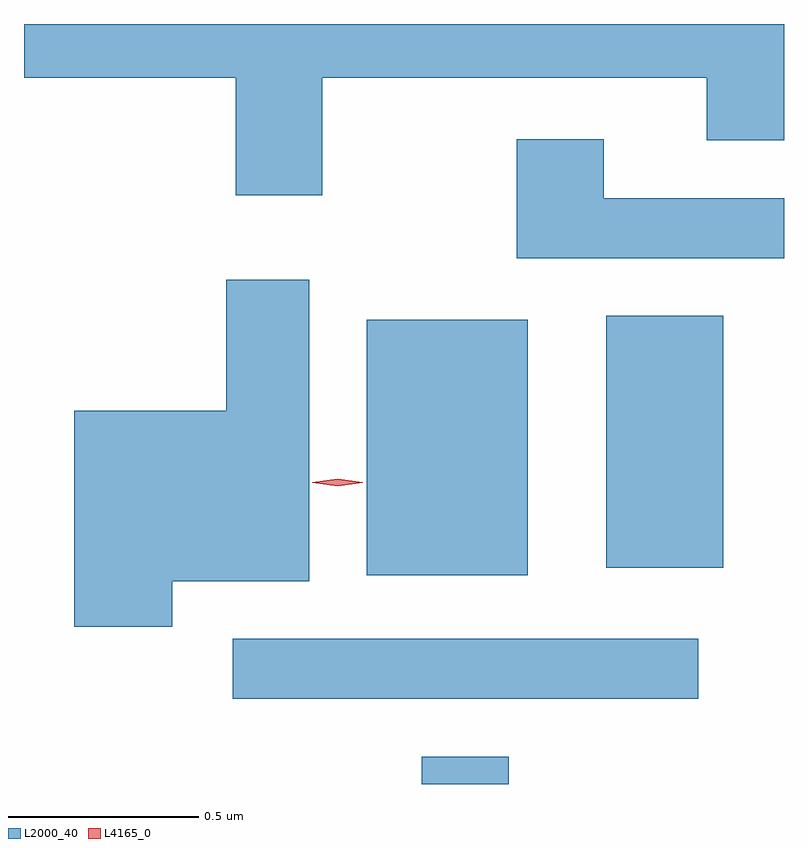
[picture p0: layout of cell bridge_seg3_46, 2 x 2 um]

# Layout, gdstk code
import gdstk
lib = gdstk.Library(unit=1e-6, precision=1e-09)
def R(c, l, rs):  # rectangles x0, y0, x1, y1
    for r in rs: c.add(gdstk.rectangle(r[:2], r[2:], *l))
def P(c, l, *ps):  # polygons
    for p in ps: c.add(gdstk.Polygon(p, *l))
L2000_40 = (2000, 40)
L4165_0 = (4165, 0)

bridge_seg3_46 = lib.new_cell('bridge_seg3_46')
R(bridge_seg3_46, L2000_40, [(1164.121,1157.457,1164.349,1157.529), (1163.623,1157.681,1164.848,1157.839), (1163.976,1158.006,1164.399,1158.679), (1164.606,1158.026,1164.914,1158.689)])
P(bridge_seg3_46, L2000_40, [(1163.859,1159.316),(1164.871,1159.316),(1164.871,1159.151),(1165.074,1159.151),(1165.074,1159.457),(1163.074,1159.457),(1163.074,1159.316),(1163.631,1159.316),(1163.631,1159.006),(1163.859,1159.006)],
  [(1165.074,1158.999),(1164.599,1158.999),(1164.599,1159.154),(1164.371,1159.154),(1164.371,1158.841),(1165.074,1158.841)],
  [(1163.464,1157.991),(1163.824,1157.991),(1163.824,1158.784),(1163.606,1158.784),(1163.606,1158.439),(1163.206,1158.439),(1163.206,1157.871),(1163.464,1157.871)])
P(bridge_seg3_46, L4165_0, [(1163.9,1158.24),(1163.833,1158.25),(1163.833,1158.25),(1163.833,1158.251),(1163.9,1158.26),(1163.966,1158.251),(1163.966,1158.25),(1163.966,1158.25)])

lib.write_gds('bridge_seg3_46.gds')
